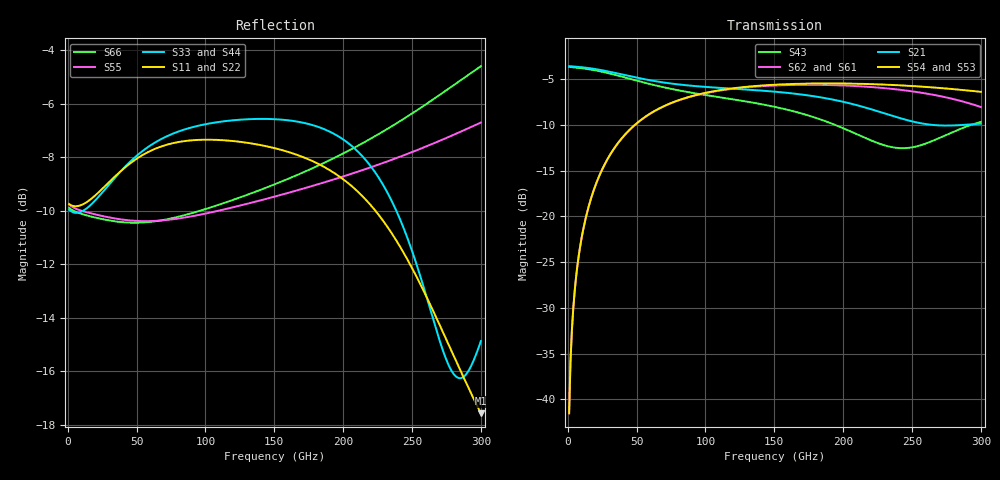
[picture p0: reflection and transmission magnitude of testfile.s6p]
! Touchstone file exported from HFSS 2023.1.1
!  File:  /home/local/ace/hy7593/HFSS_deisgn/InP_stack_EXAMPLE.aedt
!  Generated:  6:49:32 PM  Apr 05, 2024
!  Design:  Inverse_Design
!  Project:  InP_stack_EXAMPLE
!  Setup:  Setup1
!  Solution:  Sweep
! Variables:
!  feed_distance = 10um
!  feed_length = 29um
!  gnd_cut_size = 120um
!  gnd_gap = 10um
!  hActives = 0.3um
!  hM1 = 1.3um
!  hM2 = 3.3um
!  hM3 = 5.3um
!  hM4 = 7.3um
!  offset = 8um
!  subt = 150um
!  tBCB = 2um
!  tBCB_bottom = 1um
!  tM1 = 0.8um
!  tM2 = 1um
!  tM3 = 1um
!  tM4 = 3um
!  tSP = 0.2um
!  tSiO = 0.3um
!  tV12 = 1.2um
!  tV23 = 1um
!  tV34 = 1um
!  tair = 800um
!  top = 10um
!  top_size_x = 60um
!  top_size_y = 60um
!  width = 10um
!  xsub = 200um
!  ysub = 200um
# GHz S MA R 50.000000
! Terminal data exported
! Port[1] = M4_p_T1
! Port[2] = M4_n_T1
! Port[3] = M3_p_T1
! Port[4] = M3_n_T1
! Port[5] = CT_m4_T1
! Port[6] = CT_m3_T1
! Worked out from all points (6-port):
!   300 points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, 1 GHz to 300 GHz, reference 50 ohm
!   strongest paths, dB at 1 GHz, 76 GHz, 151 GHz, 226 GHz, 300 GHz:
!     S54: -41.5, -7.5, -5.6, -5.6, -6.4
!     S53: -41.5, -7.5, -5.6, -5.6, -6.4
!     S21: -3.6, -5.5, -6.4, -8.5, -9.9
!     S62: -41.5, -7.6, -5.7, -5.9, -8.0
!     S61: -41.5, -7.6, -5.7, -5.9, -8.0
!     S43: -3.6, -6.1, -8.0, -12.0, -9.7
!   lowest |S11| = -17.6 dB at 300 GHz (marker M1), VSWR 1.30, Z = 59.9 - j10.7 ohm
!   |S11| at or under -10 dB: 223.4 GHz to end of sweep
